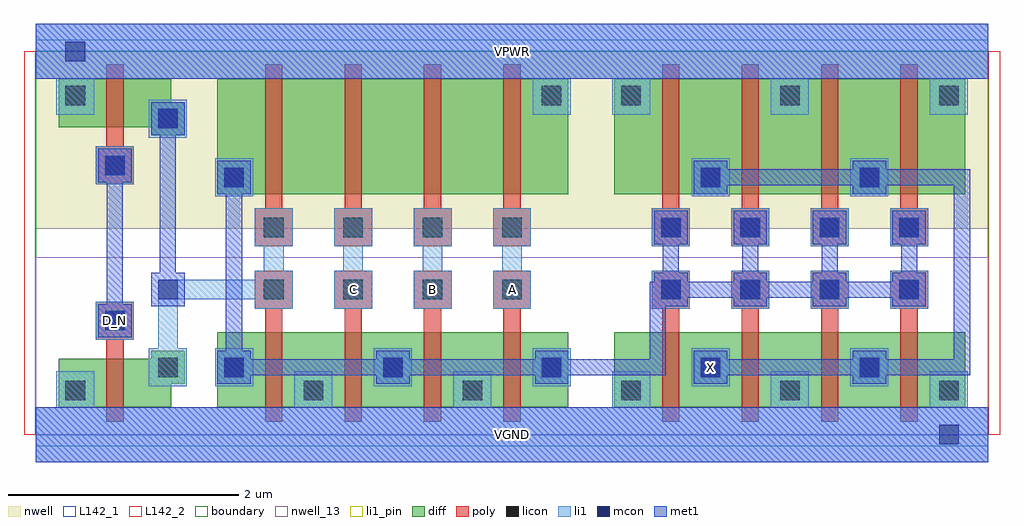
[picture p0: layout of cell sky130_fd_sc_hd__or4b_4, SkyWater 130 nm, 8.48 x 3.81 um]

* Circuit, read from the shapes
.subckt sky130_fd_sc_hd__or4b_4 A B C D_N VGND VPWR X
XM1 n1 D_N VGND VSUBS sky130_fd_pr__nfet_01v8 w=0.42 l=0.15
XM2 VGND n1 n2 VSUBS sky130_fd_pr__nfet_01v8 w=0.65 l=0.15
XM3 n2 C VGND VSUBS sky130_fd_pr__nfet_01v8 w=0.65 l=0.15
XM4 VGND B n2 VSUBS sky130_fd_pr__nfet_01v8 w=0.65 l=0.15
XM5 n2 A VGND VSUBS sky130_fd_pr__nfet_01v8 w=0.65 l=0.15
XM6 X n2 VGND VSUBS sky130_fd_pr__nfet_01v8 w=0.65 l=0.15 m=4
XM7 n1 D_N VPWR n3 sky130_fd_pr__pfet_01v8 w=0.42 l=0.15
XM8 n4 n1 n2 n3 sky130_fd_pr__pfet_01v8 w=1 l=0.15
XM9 n5 C n4 n3 sky130_fd_pr__pfet_01v8 w=1 l=0.15
XM10 n6 B n5 n3 sky130_fd_pr__pfet_01v8 w=1 l=0.15
XM11 VPWR A n6 n3 sky130_fd_pr__pfet_01v8 w=1 l=0.15
XM12 X n2 VPWR n3 sky130_fd_pr__pfet_01v8 w=1 l=0.15 m=4
.ends

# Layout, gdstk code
import gdstk
lib = gdstk.Library(unit=1e-6, precision=1e-09)
def R(c, l, rs):  # rectangles x0, y0, x1, y1
    for r in rs: c.add(gdstk.rectangle(r[:2], r[2:], *l))
def A(c, l, x, y, w, h, nx, ny, dx, dy):  # array of equal rectangles
    R(c, l, [(x+i*dx, y+j*dy, x+i*dx+w, y+j*dy+h) for i in range(nx) for j in range(ny)])
def P(c, l, *ps):  # polygons
    for p in ps: c.add(gdstk.Polygon(p, *l))
nwell_13 = (64, 13)
nwell = (64, 20)
diff = (65, 20)
poly = (66, 20)
licon = (66, 44)
li1_pin = (67, 16)
li1 = (67, 20)
mcon = (67, 44)
met1 = (68, 20)
L142_1 = (142, 1)
L142_2 = (142, 2)
boundary = (235, 4)

sky130_fd_sc_hd__or4b_4 = lib.new_cell('sky130_fd_sc_hd__or4b_4')
R(sky130_fd_sc_hd__or4b_4, nwell_13, [(0,0,8.28,1.54)])
R(sky130_fd_sc_hd__or4b_4, nwell, [(0,1.79,8.28,3.33)])
A(sky130_fd_sc_hd__or4b_4, diff, 1.995, 0.24, 0.69, 0.65, 3, 1, 0.69, 0)
A(sky130_fd_sc_hd__or4b_4, diff, 5.445, 0.24, 0.69, 0.65, 3, 1, 0.69, 0)
A(sky130_fd_sc_hd__or4b_4, diff, 1.995, 2.09, 0.69, 1, 3, 1, 0.69, 0)
A(sky130_fd_sc_hd__or4b_4, diff, 5.445, 2.09, 0.69, 1, 3, 1, 0.69, 0)
R(sky130_fd_sc_hd__or4b_4, diff, [(0.2,0.24,1.18,0.66), (0.2,0.24,0.615,0.66), (1.58,0.24,4.63,0.89), (1.58,0.24,1.995,0.89), (4.065,0.24,4.63,0.89), (5.03,0.24,8.08,0.89), (5.03,0.24,5.445,0.89), (7.515,0.24,8.08,0.89), (1.58,2.09,4.63,3.09), (1.58,2.09,1.995,3.09), (4.065,2.09,4.63,3.09), (5.03,2.09,8.08,3.09), (5.03,2.09,5.445,3.09), (7.515,2.09,8.08,3.09), (0.2,2.67,1.18,3.09), (0.2,2.67,0.615,3.09)])
P(sky130_fd_sc_hd__or4b_4, diff, [(0.615,0.24),(0.615,0.66),(1.005,0.66),(1.005,0.73),(1.295,0.73),(1.295,0.44),(1.18,0.44),(1.18,0.24)],
  [(1.005,2.6),(1.005,2.67),(0.615,2.67),(0.615,3.09),(1.18,3.09),(1.18,2.89),(1.295,2.89),(1.295,2.6)])
P(sky130_fd_sc_hd__or4b_4, poly, [(3.375,0.11),(3.375,1.095),(3.285,1.095),(3.285,1.425),(3.615,1.425),(3.615,1.095),(3.525,1.095),(3.525,0.11)],
  [(3.285,1.635),(3.285,1.965),(3.375,1.965),(3.375,3.22),(3.525,3.22),(3.525,1.965),(3.615,1.965),(3.615,1.635)],
  [(5.445,0.11),(5.445,1.095),(5.355,1.095),(5.355,1.425),(5.685,1.425),(5.685,1.095),(5.595,1.095),(5.595,0.11)],
  [(6.135,0.11),(6.135,1.095),(6.045,1.095),(6.045,1.425),(6.375,1.425),(6.375,1.095),(6.285,1.095),(6.285,0.11)],
  [(6.825,0.11),(6.825,1.095),(6.735,1.095),(6.735,1.425),(7.065,1.425),(7.065,1.095),(6.975,1.095),(6.975,0.11)],
  [(7.515,0.11),(7.515,1.095),(7.425,1.095),(7.425,1.425),(7.755,1.425),(7.755,1.095),(7.665,1.095),(7.665,0.11)],
  [(5.355,1.635),(5.355,1.965),(5.445,1.965),(5.445,3.22),(5.595,3.22),(5.595,1.965),(5.685,1.965),(5.685,1.635)],
  [(6.045,1.635),(6.045,1.965),(6.135,1.965),(6.135,3.22),(6.285,3.22),(6.285,1.965),(6.375,1.965),(6.375,1.635)],
  [(6.735,1.635),(6.735,1.965),(6.825,1.965),(6.825,3.22),(6.975,3.22),(6.975,1.965),(7.065,1.965),(7.065,1.635)],
  [(7.425,1.635),(7.425,1.965),(7.515,1.965),(7.515,3.22),(7.665,3.22),(7.665,1.965),(7.755,1.965),(7.755,1.635)],
  [(1.995,0.11),(1.995,1.095),(1.905,1.095),(1.905,1.425),(2.235,1.425),(2.235,1.095),(2.145,1.095),(2.145,0.11)],
  [(1.905,1.635),(1.905,1.965),(1.995,1.965),(1.995,3.22),(2.145,3.22),(2.145,1.965),(2.235,1.965),(2.235,1.635)],
  [(0.615,0.11),(0.615,0.825),(0.525,0.825),(0.525,1.155),(0.855,1.155),(0.855,0.825),(0.765,0.825),(0.765,0.11)],
  [(0.525,2.175),(0.525,2.505),(0.615,2.505),(0.615,3.22),(0.765,3.22),(0.765,2.505),(0.855,2.505),(0.855,2.175)],
  [(2.685,0.11),(2.685,1.095),(2.595,1.095),(2.595,1.425),(2.925,1.425),(2.925,1.095),(2.835,1.095),(2.835,0.11)],
  [(2.595,1.635),(2.595,1.965),(2.685,1.965),(2.685,3.22),(2.835,3.22),(2.835,1.965),(2.925,1.965),(2.925,1.635)],
  [(4.065,0.11),(4.065,1.095),(3.975,1.095),(3.975,1.425),(4.305,1.425),(4.305,1.095),(4.215,1.095),(4.215,0.11)],
  [(3.975,1.635),(3.975,1.965),(4.065,1.965),(4.065,3.22),(4.215,3.22),(4.215,1.965),(4.305,1.965),(4.305,1.635)])
A(sky130_fd_sc_hd__or4b_4, licon, 2.33, 0.3, 0.17, 0.17, 5, 1, 1.38, 0)
A(sky130_fd_sc_hd__or4b_4, licon, 1.64, 0.5, 0.17, 0.17, 5, 1, 1.38, 0)
A(sky130_fd_sc_hd__or4b_4, licon, 1.985, 1.175, 0.17, 0.17, 4, 2, 0.69, 0.54)
A(sky130_fd_sc_hd__or4b_4, licon, 5.435, 1.175, 0.17, 0.17, 4, 2, 0.69, 0.54)
A(sky130_fd_sc_hd__or4b_4, licon, 5.09, 2.86, 0.17, 0.17, 3, 1, 1.38, 0)
R(sky130_fd_sc_hd__or4b_4, licon, [(0.26,0.3,0.43,0.47), (1.065,0.5,1.235,0.67), (0.605,0.905,0.775,1.075), (1.64,2.15,1.81,2.32), (5.78,2.15,5.95,2.32), (7.16,2.15,7.33,2.32), (0.605,2.255,0.775,2.425), (1.065,2.66,1.235,2.83), (0.26,2.86,0.43,3.03), (4.4,2.86,4.57,3.03)])
R(sky130_fd_sc_hd__or4b_4, li1_pin, [(0,-0.24,8.28,0.24), (5.7,0.42,6.03,0.75), (0.525,0.825,0.855,1.155), (0,3.09,8.28,3.57)])
P(sky130_fd_sc_hd__or4b_4, li1_pin, [(3.285,1.095),(3.285,1.425),(3.365,1.425),(3.365,1.635),(3.285,1.635),(3.285,1.965),(3.615,1.965),(3.615,1.635),(3.535,1.635),(3.535,1.425),(3.615,1.425),(3.615,1.095)],
  [(2.595,1.095),(2.595,1.425),(2.675,1.425),(2.675,1.635),(2.595,1.635),(2.595,1.965),(2.925,1.965),(2.925,1.635),(2.845,1.635),(2.845,1.425),(2.925,1.425),(2.925,1.095)],
  [(3.975,1.095),(3.975,1.425),(4.055,1.425),(4.055,1.635),(3.975,1.635),(3.975,1.965),(4.305,1.965),(4.305,1.635),(4.225,1.635),(4.225,1.425),(4.305,1.425),(4.305,1.095)])
A(sky130_fd_sc_hd__or4b_4, li1, 1.56, 0.42, 0.33, 0.33, 5, 1, 1.38, 0)
A(sky130_fd_sc_hd__or4b_4, li1, 5.355, 1.095, 0.33, 0.33, 4, 2, 0.69, 0.54)
R(sky130_fd_sc_hd__or4b_4, li1, [(0.525,0.825,0.855,1.155), (1.56,2.07,1.89,2.4), (5.7,2.07,6.03,2.4), (7.08,2.07,7.41,2.4), (0.525,2.175,0.855,2.505), (0.985,2.58,1.315,2.91)])
P(sky130_fd_sc_hd__or4b_4, li1, [(3.285,1.095),(3.285,1.425),(3.365,1.425),(3.365,1.635),(3.285,1.635),(3.285,1.965),(3.615,1.965),(3.615,1.635),(3.535,1.635),(3.535,1.425),(3.615,1.425),(3.615,1.095)],
  [(0.985,0.42),(0.985,0.75),(1.065,0.75),(1.065,1.345),(1.905,1.345),(1.905,1.425),(1.985,1.425),(1.985,1.635),(1.905,1.635),(1.905,1.965),(2.235,1.965),(2.235,1.635),(2.155,1.635),(2.155,1.425),(2.235,1.425),(2.235,1.095),(1.905,1.095),(1.905,1.175),(1.235,1.175),(1.235,0.75),(1.315,0.75),(1.315,0.42)],
  [(0.18,2.78),(0.18,3.09),(0,3.09),(0,3.57),(8.28,3.57),(8.28,3.09),(8.1,3.09),(8.1,2.78),(7.77,2.78),(7.77,3.09),(6.72,3.09),(6.72,2.78),(6.39,2.78),(6.39,3.09),(5.34,3.09),(5.34,2.78),(5.01,2.78),(5.01,3.09),(4.65,3.09),(4.65,2.78),(4.32,2.78),(4.32,3.09),(0.51,3.09),(0.51,2.78)],
  [(2.595,1.095),(2.595,1.425),(2.675,1.425),(2.675,1.635),(2.595,1.635),(2.595,1.965),(2.925,1.965),(2.925,1.635),(2.845,1.635),(2.845,1.425),(2.925,1.425),(2.925,1.095)],
  [(0,-0.24),(0,0.24),(0.18,0.24),(0.18,0.55),(0.51,0.55),(0.51,0.24),(2.25,0.24),(2.25,0.55),(2.58,0.55),(2.58,0.24),(3.63,0.24),(3.63,0.55),(3.96,0.55),(3.96,0.24),(5.01,0.24),(5.01,0.55),(5.34,0.55),(5.34,0.24),(6.39,0.24),(6.39,0.55),(6.72,0.55),(6.72,0.24),(7.77,0.24),(7.77,0.55),(8.1,0.55),(8.1,0.24),(8.28,0.24),(8.28,-0.24)],
  [(3.975,1.095),(3.975,1.425),(4.055,1.425),(4.055,1.635),(3.975,1.635),(3.975,1.965),(4.305,1.965),(4.305,1.635),(4.225,1.635),(4.225,1.425),(4.305,1.425),(4.305,1.095)])
A(sky130_fd_sc_hd__or4b_4, mcon, 1.64, 0.5, 0.17, 0.17, 5, 1, 1.38, 0)
A(sky130_fd_sc_hd__or4b_4, mcon, 5.435, 1.175, 0.17, 0.17, 4, 2, 0.69, 0.54)
R(sky130_fd_sc_hd__or4b_4, mcon, [(7.85,-0.085,8.02,0.085), (0.605,0.905,0.775,1.075), (1.065,1.175,1.235,1.345), (1.64,2.15,1.81,2.32), (5.78,2.15,5.95,2.32), (7.16,2.15,7.33,2.32), (0.605,2.255,0.775,2.425), (1.065,2.66,1.235,2.83), (0.26,3.245,0.43,3.415)])
R(sky130_fd_sc_hd__or4b_4, met1, [(0,-0.24,8.28,0.24), (0,3.09,8.28,3.57)])
P(sky130_fd_sc_hd__or4b_4, met1, [(1.58,0.44),(1.58,0.73),(1.655,0.73),(1.655,2.09),(1.58,2.09),(1.58,2.38),(1.87,2.38),(1.87,2.09),(1.795,2.09),(1.795,0.73),(1.87,0.73),(1.87,0.655),(2.96,0.655),(2.96,0.73),(3.25,0.73),(3.25,0.655),(4.34,0.655),(4.34,0.73),(4.63,0.73),(4.63,0.655),(5.335,0.655),(5.335,1.33),(5.375,1.33),(5.375,1.405),(5.45,1.405),(5.45,1.655),(5.375,1.655),(5.375,1.945),(5.665,1.945),(5.665,1.655),(5.59,1.655),(5.59,1.405),(5.665,1.405),(5.665,1.33),(6.065,1.33),(6.065,1.405),(6.14,1.405),(6.14,1.655),(6.065,1.655),(6.065,1.945),(6.355,1.945),(6.355,1.655),(6.28,1.655),(6.28,1.405),(6.355,1.405),(6.355,1.33),(6.755,1.33),(6.755,1.405),(6.83,1.405),(6.83,1.655),(6.755,1.655),(6.755,1.945),(7.045,1.945),(7.045,1.655),(6.97,1.655),(6.97,1.405),(7.045,1.405),(7.045,1.33),(7.445,1.33),(7.445,1.405),(7.52,1.405),(7.52,1.655),(7.445,1.655),(7.445,1.945),(7.735,1.945),(7.735,1.655),(7.66,1.655),(7.66,1.405),(7.735,1.405),(7.735,1.115),(7.445,1.115),(7.445,1.19),(7.045,1.19),(7.045,1.115),(6.755,1.115),(6.755,1.19),(6.355,1.19),(6.355,1.115),(6.065,1.115),(6.065,1.19),(5.665,1.19),(5.665,1.115),(5.475,1.115),(5.475,0.515),(4.63,0.515),(4.63,0.44),(4.34,0.44),(4.34,0.515),(3.25,0.515),(3.25,0.44),(2.96,0.44),(2.96,0.515),(1.87,0.515),(1.87,0.44)],
  [(1.005,1.115),(1.005,1.405),(1.08,1.405),(1.08,2.6),(1.005,2.6),(1.005,2.89),(1.295,2.89),(1.295,2.6),(1.22,2.6),(1.22,1.405),(1.295,1.405),(1.295,1.115)],
  [(0.545,0.845),(0.545,1.135),(0.62,1.135),(0.62,2.195),(0.545,2.195),(0.545,2.485),(0.835,2.485),(0.835,2.195),(0.76,2.195),(0.76,1.135),(0.835,1.135),(0.835,0.845)],
  [(5.72,0.44),(5.72,0.73),(6.01,0.73),(6.01,0.655),(7.1,0.655),(7.1,0.73),(7.39,0.73),(7.39,0.655),(7.98,0.655),(7.98,2.165),(7.39,2.165),(7.39,2.09),(7.1,2.09),(7.1,2.165),(6.01,2.165),(6.01,2.09),(5.72,2.09),(5.72,2.38),(6.01,2.38),(6.01,2.305),(7.1,2.305),(7.1,2.38),(7.39,2.38),(7.39,2.305),(8.12,2.305),(8.12,0.515),(7.39,0.515),(7.39,0.44),(7.1,0.44),(7.1,0.515),(6.01,0.515),(6.01,0.44)])
R(sky130_fd_sc_hd__or4b_4, L142_1, [(0,-0.1,8.28,0), (0,3.33,8.28,3.43)])
R(sky130_fd_sc_hd__or4b_4, L142_2, [(-0.1,0,0,3.33), (8.28,0,8.38,3.33)])
R(sky130_fd_sc_hd__or4b_4, boundary, [(0,0,8.28,3.33)])
sky130_fd_sc_hd__or4b_4.add(gdstk.Label('X', (5.865,0.585), layer=67, texttype=5))
sky130_fd_sc_hd__or4b_4.add(gdstk.Label('B', (3.45,1.26), layer=67, texttype=5))
sky130_fd_sc_hd__or4b_4.add(gdstk.Label('D_N', (0.69,0.99), layer=67, texttype=5))
sky130_fd_sc_hd__or4b_4.add(gdstk.Label('C', (2.76,1.26), layer=67, texttype=5))
sky130_fd_sc_hd__or4b_4.add(gdstk.Label('A', (4.14,1.26), layer=67, texttype=5))
sky130_fd_sc_hd__or4b_4.add(gdstk.Label('VGND', (4.14,0), layer=67, texttype=5))
sky130_fd_sc_hd__or4b_4.add(gdstk.Label('VPWR', (4.14,3.33), layer=67, texttype=5))
sky130_fd_sc_hd__or4b_4.add(gdstk.Label('VGND', (4.14,0), layer=68, texttype=5))
sky130_fd_sc_hd__or4b_4.add(gdstk.Label('VPWR', (4.14,3.33), layer=68, texttype=5))

lib.write_gds('sky130_fd_sc_hd__or4b_4.gds')
